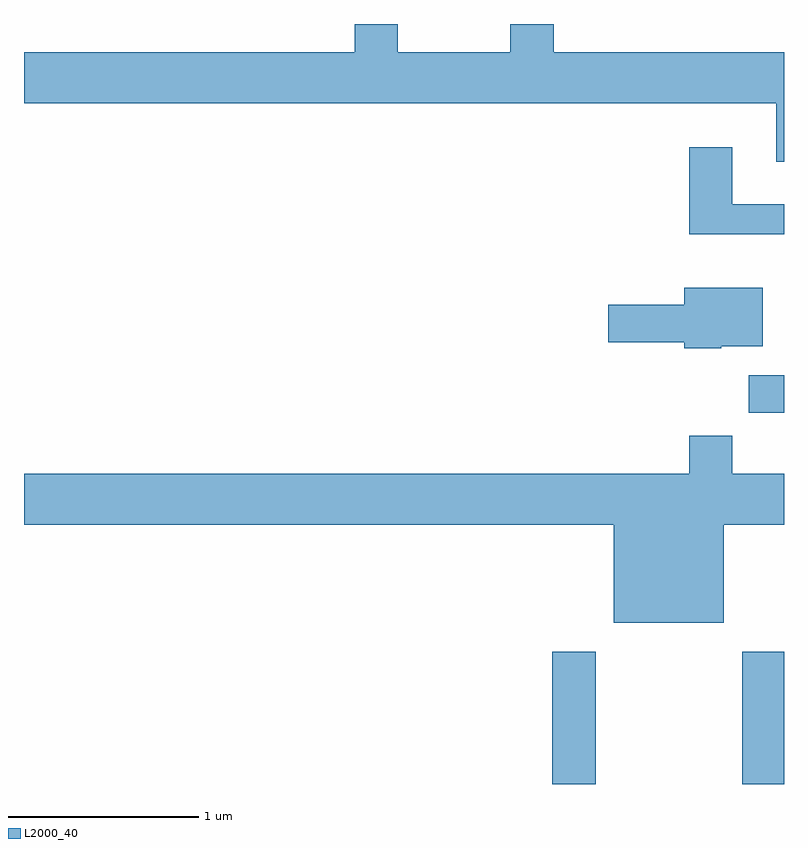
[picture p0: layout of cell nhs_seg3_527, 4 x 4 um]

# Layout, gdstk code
import gdstk
lib = gdstk.Library(unit=1e-6, precision=1e-09)
def R(c, l, rs):  # rectangles x0, y0, x1, y1
    for r in rs: c.add(gdstk.rectangle(r[:2], r[2:], *l))
def P(c, l, *ps):  # polygons
    for p in ps: c.add(gdstk.Polygon(p, *l))
L2000_40 = (2000, 40)

nhs_seg3_527 = lib.new_cell('nhs_seg3_527')
R(nhs_seg3_527, L2000_40, [(202.391,1217.892,202.619,1218.589), (203.391,1217.892,203.611,1218.589), (203.426,1219.846,203.611,1220.044)])
P(nhs_seg3_527, L2000_40, [(203.611,1221.744),(202.399,1221.744),(202.399,1221.892),(202.171,1221.892),(202.171,1221.744),(201.579,1221.744),(201.579,1221.892),(201.351,1221.892),(201.351,1221.744),(199.611,1221.744),(199.611,1221.476),(203.571,1221.476),(203.571,1221.166),(203.611,1221.166)],
  [(203.611,1220.944),(203.339,1220.944),(203.339,1221.244),(203.111,1221.244),(203.111,1220.786),(203.611,1220.786)],
  [(203.28,1220.196),(203.499,1220.196),(203.499,1220.504),(203.086,1220.504),(203.086,1220.414),(202.686,1220.414),(202.686,1220.216),(203.086,1220.216),(203.086,1220.186),(203.28,1220.186)],
  [(203.294,1219.256),(203.611,1219.256),(203.611,1219.524),(203.339,1219.524),(203.339,1219.724),(203.111,1219.724),(203.111,1219.524),(199.611,1219.524),(199.611,1219.256),(202.716,1219.256),(202.716,1218.741),(203.294,1218.741)])

lib.write_gds('nhs_seg3_527.gds')
